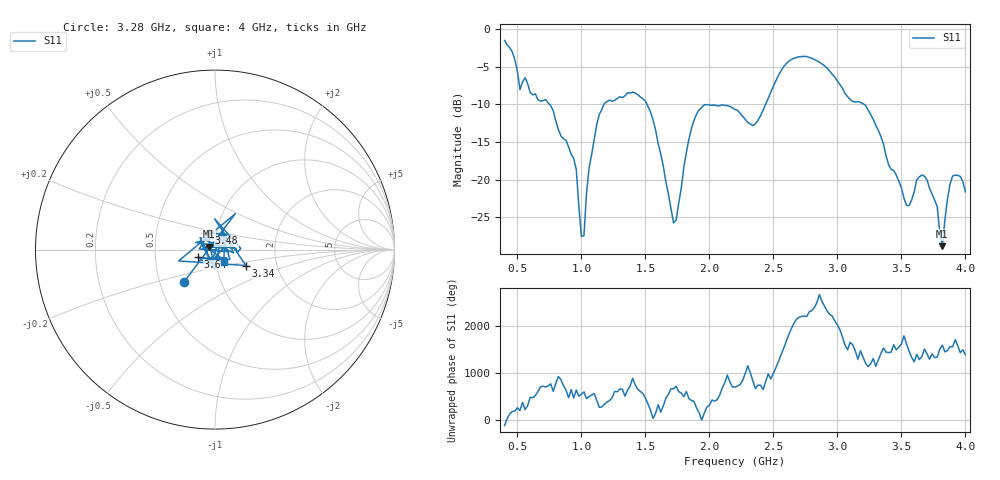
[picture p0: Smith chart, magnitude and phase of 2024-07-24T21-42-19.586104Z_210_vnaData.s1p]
!Created with skrf (http://scikit-rf.org).
# Hz S RI R 50.0
!freq ReS11 ImS11
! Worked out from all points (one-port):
!   181 points, 400 MHz to 4 GHz, reference 50 ohm
!   lowest |S11| = -28.8 dB at 3.82 GHz (marker M1), VSWR 1.07, Z = 46.9 + j1.62 ohm
!   |S11| at or under -10 dB: 750.6 MHz to 1.177 GHz (426.1 MHz wide, 44.2 % of centre); 1.512 GHz to 2.44 GHz (927.6 MHz wide, 46.9 % of centre); 3.208 GHz to end of sweep
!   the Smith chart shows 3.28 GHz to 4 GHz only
!   S11 on the Smith chart (normalised r, x): 3.28 GHz: 0.66, -0.26; 3.34 GHz: 1.39, -0.26; 3.48 GHz: 0.92, +0.17; 3.64 GHz: 0.82, -0.07; 4 GHz: 1.09, -0.15
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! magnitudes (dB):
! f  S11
! 400 MHz  -1.5
! 520 MHz  -8.1
! 720 MHz  -9.4
! 860 MHz  -14.6
! 960 MHz  -18.7
! 1 GHz  -27.6
! 1.02 GHz  -27.4
! 1.06 GHz  -18.4
! 1.14 GHz  -11.3
! 1.3 GHz  -9.0
! 1.5 GHz  -9.6
! 1.58 GHz  -13.4
! 1.72 GHz  -25.8
! 1.76 GHz  -23.1
! 1.9 GHz  -11.3
! 2.2 GHz  -10.7
! 2.36 GHz  -12.6
! 2.66 GHz  -3.9
! 3.1 GHz  -9.4
! 3.28 GHz  -12.0
! 3.34 GHz  -14.3
! 3.48 GHz  -20.2
! 3.56 GHz  -23.4
! 3.64 GHz  -19.6
! 3.78 GHz  -23.6
! 3.82 GHz  -28.8
! 3.9 GHz  -19.5
! 4 GHz  -21.6
